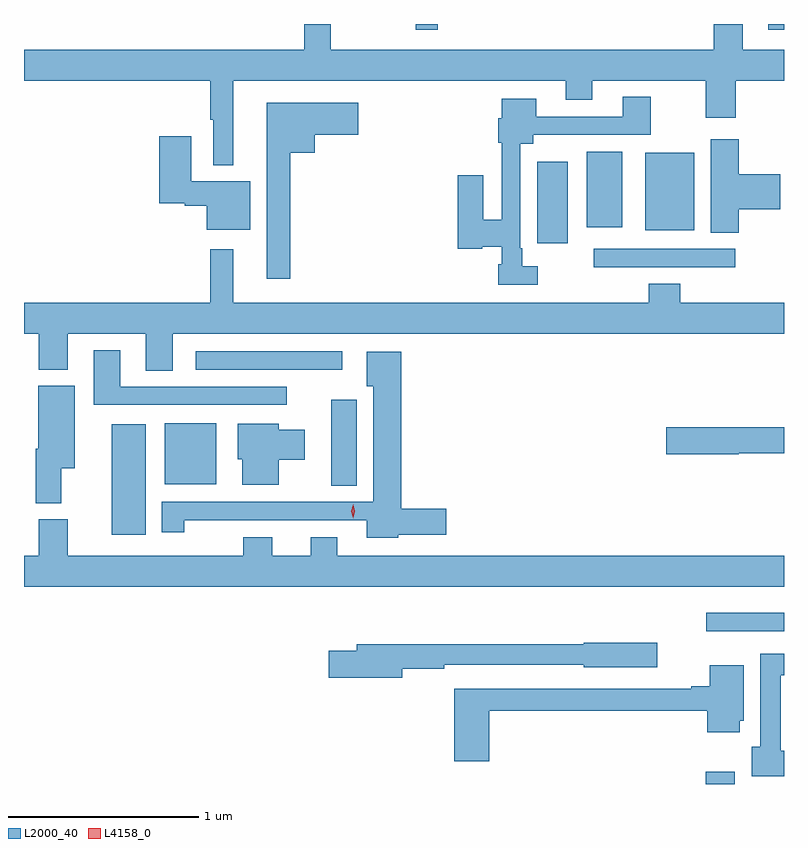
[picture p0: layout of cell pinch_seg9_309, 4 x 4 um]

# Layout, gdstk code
import gdstk
lib = gdstk.Library(unit=1e-6, precision=1e-09)
def R(c, l, rs):  # rectangles x0, y0, x1, y1
    for r in rs: c.add(gdstk.rectangle(r[:2], r[2:], *l))
def P(c, l, *ps):  # polygons
    for p in ps: c.add(gdstk.Polygon(p, *l))
L2000_40 = (2000, 40)
L4158_0 = (4158, 0)

pinch_seg9_309 = lib.new_cell('pinch_seg9_309')
R(pinch_seg9_309, L2000_40, [(577.355,1200.711,577.507,1200.775), (577.359,1201.515,577.767,1201.612), (574.229,1202.024,574.408,1202.605), (575.384,1202.281,575.518,1202.734), (574.508,1202.288,574.78,1202.611), (574.671,1202.892,575.443,1202.988), (576.765,1203.432,577.51,1203.528), (576.467,1203.558,576.628,1203.985), (577.037,1203.626,577.294,1204.033), (576.728,1203.641,576.916,1204.039), (575.829,1204.68,575.945,1204.711), (577.685,1204.68,577.767,1204.711)])
P(pinch_seg9_309, L2000_40, [(574.867,1204.412),(576.617,1204.412),(576.617,1204.313),(576.757,1204.313),(576.757,1204.412),(577.354,1204.412),(577.354,1204.218),(577.514,1204.218),(577.514,1204.412),(577.767,1204.412),(577.767,1204.576),(577.549,1204.576),(577.549,1204.711),(577.397,1204.711),(577.397,1204.576),(575.382,1204.576),(575.382,1204.711),(575.243,1204.711),(575.243,1204.576),(573.767,1204.576),(573.767,1204.412),(574.746,1204.412),(574.746,1204.207),(574.763,1204.207),(574.763,1203.968),(574.867,1203.968)],
  [(576.472,1203.435),(576.39,1203.435),(576.39,1203.532),(576.378,1203.532),(576.378,1204.082),(576.448,1204.082),(576.448,1204.128),(577.065,1204.128),(577.065,1204.327),(576.917,1204.327),(576.917,1204.224),(576.463,1204.224),(576.463,1204.318),(576.281,1204.318),(576.281,1204.214),(576.262,1204.214),(576.262,1204.086),(576.282,1204.086),(576.282,1203.68),(576.184,1203.68),(576.184,1203.916),(576.05,1203.916),(576.05,1203.527),(576.18,1203.527),(576.18,1203.538),(576.282,1203.538),(576.282,1203.446),(576.262,1203.446),(576.262,1203.339),(576.472,1203.339)],
  [(575.167,1204.034),(575.296,1204.034),(575.296,1204.127),(575.527,1204.127),(575.527,1204.297),(575.045,1204.297),(575.045,1203.369),(575.167,1203.369)],
  [(574.957,1203.883),(574.648,1203.883),(574.648,1204.12),(574.478,1204.12),(574.478,1203.767),(574.614,1203.767),(574.614,1203.755),(574.73,1203.755),(574.73,1203.629),(574.957,1203.629)],
  [(577.529,1203.737),(577.747,1203.737),(577.747,1203.92),(577.529,1203.92),(577.529,1204.105),(577.382,1204.105),(577.382,1203.613),(577.529,1203.613)],
  [(574.549,1203.08),(577.767,1203.08),(577.767,1203.244),(577.22,1203.244),(577.22,1203.343),(577.055,1203.343),(577.055,1203.244),(574.867,1203.244),(574.867,1203.526),(574.746,1203.526),(574.746,1203.244),(573.767,1203.244),(573.767,1203.08),(573.845,1203.08),(573.845,1202.891),(573.997,1202.891),(573.997,1203.08),(574.409,1203.08),(574.409,1202.887),(574.549,1202.887)],
  [(575.149,1202.802),(574.273,1202.802),(574.273,1202.995),(574.133,1202.995),(574.133,1202.706),(575.149,1202.706)],
  [(575.736,1202.024),(575.989,1202.024),(575.989,1202.159),(575.753,1202.159),(575.753,1202.986),(575.57,1202.986),(575.57,1202.804),(575.606,1202.804),(575.606,1202.196),(574.493,1202.196),(574.493,1202.037),(574.611,1202.037),(574.611,1202.099),(574.838,1202.099),(574.838,1202.1),(575.57,1202.1),(575.57,1202.006),(575.736,1202.006)],
  [(573.964,1202.372),(574.033,1202.372),(574.033,1202.806),(573.842,1202.806),(573.842,1202.476),(573.83,1202.476),(573.83,1202.189),(573.964,1202.189)],
  [(575.107,1202.417),(575.245,1202.417),(575.245,1202.575),(575.107,1202.575),(575.107,1202.608),(574.892,1202.608),(574.892,1202.421),(574.916,1202.421),(574.916,1202.285),(575.107,1202.285)],
  [(577.53,1202.452),(577.767,1202.452),(577.767,1202.588),(577.53,1202.588),(577.53,1202.589),(577.146,1202.589),(577.146,1202.447),(577.53,1202.447)],
  [(577.767,1201.912),(575.416,1201.912),(575.416,1202.011),(575.276,1202.011),(575.276,1201.912),(575.074,1201.912),(575.074,1202.011),(574.922,1202.011),(574.922,1201.912),(573.997,1201.912),(573.997,1202.104),(573.845,1202.104),(573.845,1201.912),(573.767,1201.912),(573.767,1201.748),(577.767,1201.748)],
  [(575.758,1201.318),(575.978,1201.318),(575.978,1201.338),(576.714,1201.338),(576.714,1201.325),(577.099,1201.325),(577.099,1201.455),(576.714,1201.455),(576.714,1201.447),(575.519,1201.447),(575.519,1201.413),(575.37,1201.413),(575.37,1201.271),(575.758,1201.271)],
  [(577.767,1200.886),(577.75,1200.886),(577.75,1201.283),(577.767,1201.283),(577.767,1201.396),(577.643,1201.396),(577.643,1200.906),(577.598,1200.906),(577.598,1200.752),(577.767,1200.752)],
  [(576.215,1201.096),(577.364,1201.096),(577.364,1200.984),(577.534,1200.984),(577.534,1201.044),(577.555,1201.044),(577.555,1201.336),(577.376,1201.336),(577.376,1201.225),(577.28,1201.225),(577.28,1201.212),(576.032,1201.212),(576.032,1200.831),(576.215,1200.831)])
P(pinch_seg9_309, L4158_0, [(575.499,1202.111),(575.499,1202.112),(575.489,1202.147),(575.499,1202.182),(575.499,1202.183),(575.499,1202.182),(575.509,1202.147),(575.499,1202.112)])

lib.write_gds('pinch_seg9_309.gds')
